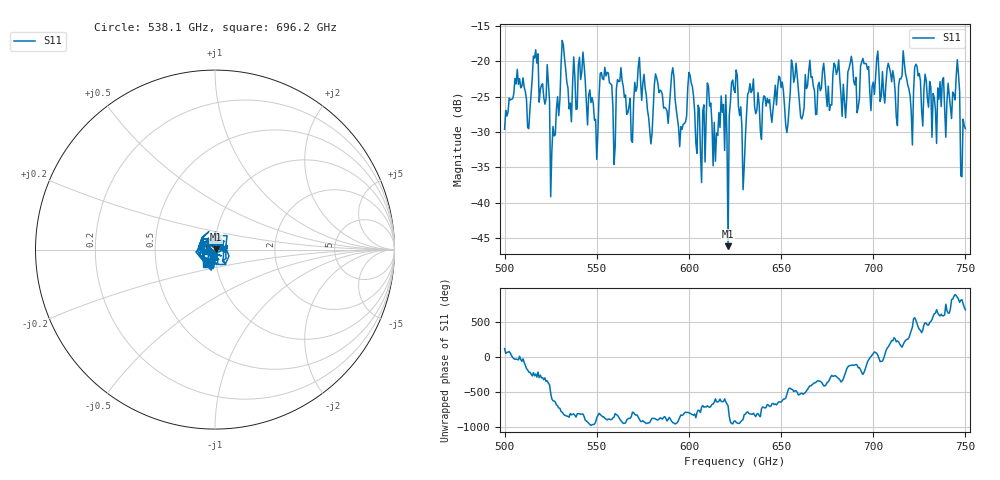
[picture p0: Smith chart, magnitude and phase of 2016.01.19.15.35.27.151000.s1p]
!Created with skrf (http://scikit-rf.org).
# GHz S RI R 50.0
!freq ReS11 ImS11
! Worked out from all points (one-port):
!   401 points, 500 GHz to 750 GHz, reference 50 ohm
!   lowest |S11| = -46.1 dB at 621.2 GHz (marker M1), VSWR 1.01, Z = 50.5 + j0.15 ohm
!   |S11| at or under -10 dB: start of sweep to end of sweep
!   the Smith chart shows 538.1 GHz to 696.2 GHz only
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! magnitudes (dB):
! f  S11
! 500 GHz  -29.6
! 506.9 GHz  -21.1
! 513.1 GHz  -29.5
! 516.9 GHz  -18.3
! 526.2 GHz  -29.2
! 531.2 GHz  -17.0
! 549.4 GHz  -28.2
! 553.1 GHz  -22.4
! 559.4 GHz  -34.6
! 562.5 GHz  -22.8
! 574.4 GHz  -25.5
! 578.8 GHz  -29.7
! 591.2 GHz  -20.9
! 593.8 GHz  -28.1
! 600.6 GHz  -22.0
! 605.6 GHz  -26.7
! 610.6 GHz  -23.6
! 621.2 GHz  -46.1
! 625 GHz  -24.4
! 630 GHz  -34.9
! 633.8 GHz  -24.4
! 653.1 GHz  -30.1
! 656.2 GHz  -20.6
! 661.2 GHz  -28.1
! 687.5 GHz  -20.3
! 718.8 GHz  -23.4
! 745.6 GHz  -19.8
! 750 GHz  -29.5
